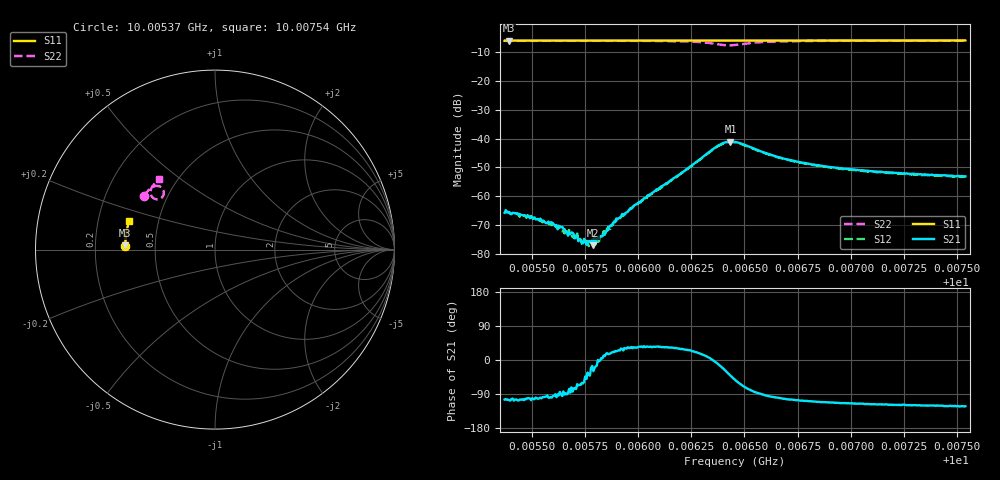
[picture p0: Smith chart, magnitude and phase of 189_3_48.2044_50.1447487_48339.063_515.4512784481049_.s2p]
#  HZ  S  RI  R  50.00
! Rohde & Schwarz Vector Network Analyzer
! Rohde-Schwarz,ZNB20-2Port,1311601062101988,3.16
! Created: UTC 3/20/2024, 11:44:34 AM
! freq[Hz]  re:S11  im:S11  re:S21  im:S21  re:S12  im:S12  re:S22  im:S22
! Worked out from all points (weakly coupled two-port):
!   401 points, 10.00537 GHz to 10.00754 GHz, reference 50 ohm
!   highest |S21| = -41.02 dB at 10.00643 GHz (marker M1); lowest = -77.0 dB at 10.00579 GHz (marker M2)
!   lowest |S11| = -6.0 dB at 10.00539 GHz (marker M3), VSWR 3.00, Z = 16.7 + j1.03 ohm
!   |S11| at or under -10 dB: nowhere
!   |S22| runs from -7.6 to -6.0 dB; largest |S21 - S12| = 0.00051
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1.0005371e10  -0.5 0.0217  -0.000128 -0.0005  -0.000114 -0.000529  -0.3953 0.2999
1.0005392e10  -0.4998 0.0231  -0.000147 -0.000508  -0.000114 -0.000521  -0.3943 0.3012
1.000549e10  -0.4997 0.0294  -8.19e-05 -0.000407  -7.78e-05 -0.000409  -0.3902 0.307
1.0005588e10  -0.4995 0.0359  -4.53e-05 -0.00035  -3.97e-05 -0.000328  -0.3858 0.3128
1.0005642e10  -0.4993 0.0393  -2.64e-05 -0.000292  1.66e-05 -0.000244  -0.3832 0.3161
1.0005669e10  -0.4993 0.0409  5.58e-06 -0.000206  4.09e-05 -0.000212  -0.3818 0.3179
1.0005685e10  -0.4991 0.0421  7.05e-05 -0.000223  7.31e-05 -0.000201  -0.381 0.3189
1.0005734e10  -0.4991 0.0454  8e-05 -0.00014  7.95e-05 -0.000127  -0.3786 0.3218
1.0005772e10  -0.4989 0.0478  0.00012 -0.000105  0.000142 -8.42e-05  -0.3765 0.3242
1.0005788e10  -0.4987 0.0489  0.000122 -6.91e-05  0.00017 -5.24e-05  -0.3755 0.3253
1.0005821e10  -0.4986 0.0509  0.0002 -3.83e-06  0.000225 3.79e-05  -0.3736 0.3274
1.0005832e10  -0.4986 0.0516  0.000201 1.59e-05  0.000212 2.93e-05  -0.3731 0.3281
1.0005908e10  -0.4983 0.0566  0.000372 0.00018  0.000341 0.000179  -0.3682 0.3332
1.0005973e10  -0.4978 0.0607  0.00056 0.000336  0.000517 0.000353  -0.3635 0.3376
1.0006098e10  -0.497 0.0689  0.00113 0.000775  0.00103 0.000808  -0.3519 0.3464
1.0006369e10  -0.4941 0.0863  0.00719 -0.000922  0.00705 -0.000584  -0.2869 0.3295
1.0006434e10  -0.4934 0.0899  0.00669 -0.00585  0.00683 -0.00536  -0.2998 0.2873
1.0006456e10  -0.4932 0.0912  0.00534 -0.00693  0.00558 -0.00653  -0.3141 0.2808
1.0006656e10  -0.4918 0.104  -0.000795 -0.00474  -0.000588 -0.00469  -0.3593 0.325
1.0006819e10  -0.49 0.1144  -0.00116 -0.00333  -0.000996 -0.00335  -0.3522 0.3465
1.0007182e10  -0.485 0.1373  -0.00122 -0.00229  -0.00104 -0.0023  -0.333 0.3727
1.000754e10  -0.4787 0.1597  -0.00117 -0.00188  -0.00107 -0.00187  -0.3143 0.3915
